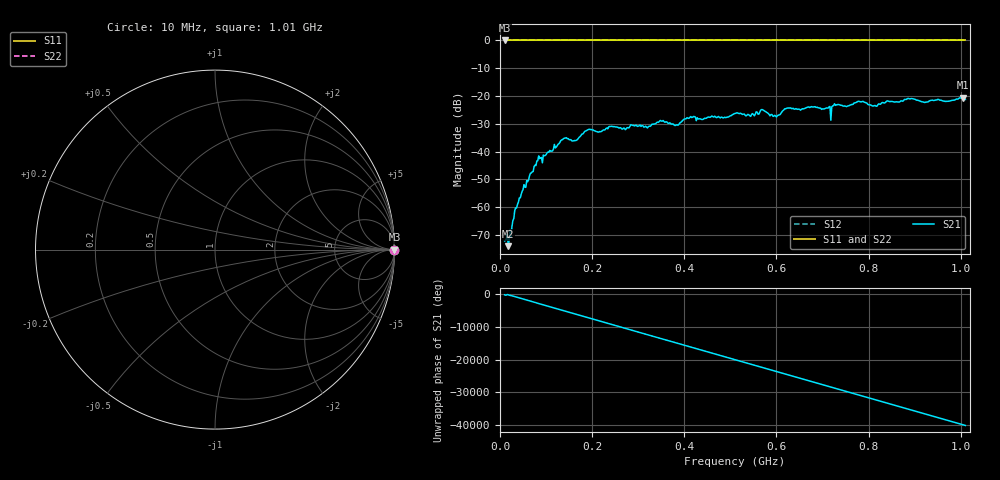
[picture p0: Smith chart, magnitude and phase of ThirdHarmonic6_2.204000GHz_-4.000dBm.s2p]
! 8/17/2025 2:15:47 AM
! C:\ANRITSUVNA\TEMP\TEMP.S2P
! CHANNEL.1
! TR.MEASUREMENT
! RAW.DATA
! RF.CORRECTION.OFF
! AVERAGING.OFF
! IF.BANDWIDTH: 5KHZ
! SWEEPTYPE:  FREQ.SWEEP(Linear)
! Reference Plane Port Info
! PORT:  PORT1  PORT2
! DISTANCE:  0  m  0  m
! TIME:  0  s  0  s
! PHASE.OFFSET:  0  deg.  0  deg.
! LOSS:  0  dB  0  dB
! REF.LOSS:  0  dB  0  dB
! REF.FREQ:  0  Hz  0  Hz
! Power Info
! POWER:  -20  dBm  -20  dBm
! EFF.POWER:  -20  dBm  -20  dBm
! SOURCE.ATTEN:  0  dB  0  dB
! TEST.ATTEN:  0  dB  0  dB
# GHZ S RI R 50.0
! FREQ.GHZ  S11RE  S11IM  S21RE  S21IM  S12RE  S12IM  S22RE  S22IM
!; PortSelection: Port_12
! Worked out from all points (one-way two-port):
!   501 points, 10 MHz to 1.01 GHz, reference 50 ohm
!   highest |S21| = -20.54 dB at 1.004 GHz (marker M1); lowest = -74.1 dB at 18 MHz (marker M2)
!   lowest |S11| = 0.0 dB at 10 MHz (marker M3)
!   |S11| at or under -10 dB: nowhere
!   |S22| runs from 0.0 to 0.0 dB; largest |S21 - S12| = 1.1
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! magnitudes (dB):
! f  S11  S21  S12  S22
! 10 MHz  0.0  -72.2  0.0  0.0
! 18 MHz  0.0  -74.1  0.0  0.0
! 22 MHz  0.0  -68.1  0.0  0.0
! 32 MHz  0.0  -61.2  0.0  0.0
! 48 MHz  0.0  -54.3  0.0  0.0
! 84 MHz  0.0  -41.6  0.0  0.0
! 138 MHz  0.0  -35.3  0.0  0.0
! 162 MHz  0.0  -36.0  0.0  0.0
! 178 MHz  0.0  -33.7  0.0  0.0
! 344 MHz  0.0  -29.4  0.0  0.0
! 384 MHz  0.0  -30.4  0.0  0.0
! 416 MHz  0.0  -27.7  0.0  0.0
! 510 MHz  0.0  -26.3  0.0  0.0
! 570 MHz  0.0  -24.9  0.0  0.0
! 596 MHz  0.0  -26.9  0.0  0.0
! 622 MHz  0.0  -24.4  0.0  0.0
! 678 MHz  0.0  -23.9  0.0  0.0
! 714 MHz  0.0  -24.0  0.0  0.0
! 730 MHz  0.0  -23.2  0.0  0.0
! 844 MHz  0.0  -21.9  0.0  0.0
! 1.004 GHz  0.0  -20.5  0.0  0.0
! 1.01 GHz  0.0  -21.2  0.0  0.0
